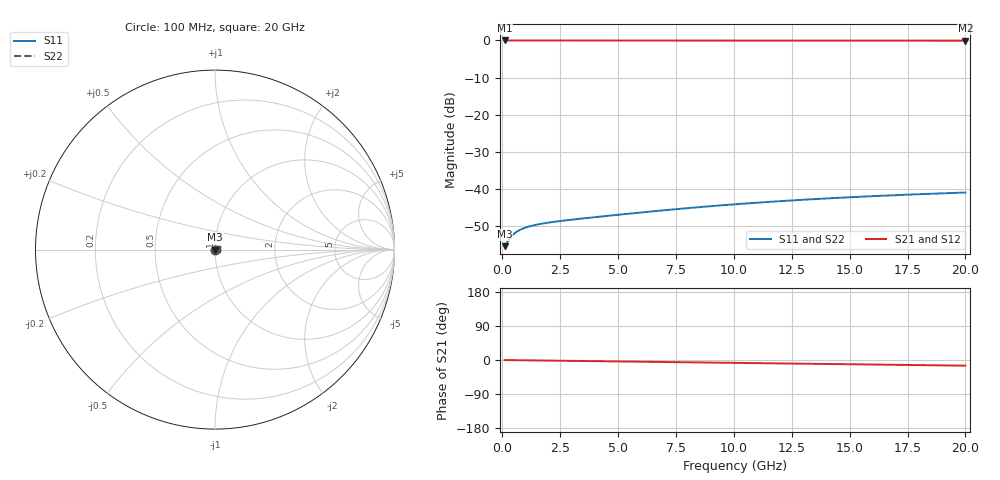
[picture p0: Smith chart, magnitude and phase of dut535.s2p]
! Touchstone file exported from HFSS 2026.1.0
!  File:  C:/ffzhzh/LocalFiles/Ansys_Project_Files/temp_train_TMRDL_535_1783007356_4048.aedt
!  Generated:  11:50:35 PM Jul  2, 2026
!  Design:  TMRDL
!  Project:  temp_train_TMRDL_535_1783007356_4048
! Variables:
!  h_bsmrdl = 2um
!  h_ox = 20um
!  h_rdl = 5um
!  h_sub = 80um
!  h_tmrdl = 2.37um
!  h_tsv = 80um
!  h_via = 3um
!  l_bsmrdl = 300um
!  l_sub = 650.79um
!  l_tmrdl = 250.79um
!  m_sub = 200um
!  pitch = 33.52um
!  r_tsv = 6um
!  s_tmrdl = 10um
!  w_bsmrdl = 18um
!  w_sub = 500um
!  w_tmrdl = 29.88um
!  x_tsv_center1 = 265.73um
!  x_tsv_center2 = 583.73um
!  x_tsv_center3 = 864.4um
!  x_tsv_center4 = 1182.4um
!  x_tsv_center5 = 1463.07um
!  x_tsv_center6 = 1781.07um
# GHz S MA R 50.000000
! Terminal data exported
! Port[1] = TM_RDL1_1_T1
! Port[2] = TM_RDL1_1_T2
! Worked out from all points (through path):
!   200 points, 100 MHz to 20 GHz, reference 50 ohm
!   highest |S21| = -0.01 dB at 100 MHz (marker M1); lowest = -0.1 dB at 20 GHz (marker M2)
!   group delay of S21, straight-line fit = 2.07 ps
!   lowest |S11| = -55.3 dB at 100 MHz (marker M3), VSWR 1.00, Z = 50.2 + j0.0317 ohm
!   |S11| at or under -10 dB: start of sweep to end of sweep
!   |S22| runs from -55.3 to -40.9 dB; largest |S21 - S12| = 3.4e-14
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0.1  0.001716 10.6  0.9983 -0.1  0.9983 -0.1  0.001716 10.6
! Gamma 0 0 0 0
! Port Impedance 50 0 50 0
0.3  0.002135 21.0  0.998 -0.3  0.998 -0.3  0.002134 20.9
0.4  0.002339 22.3  0.9978 -0.3  0.9978 -0.3  0.002336 22.2
0.5  0.002511 22.7  0.9977 -0.4  0.9977 -0.4  0.002507 22.6
0.6  0.002654 22.6  0.9975 -0.5  0.9975 -0.5  0.00265 22.6
0.7  0.002774 22.5  0.9974 -0.6  0.9974 -0.6  0.00277 22.5
0.8  0.002876 22.3  0.9973 -0.7  0.9973 -0.7  0.002873 22.3
1  0.003045 21.9  0.9971 -0.8  0.9971 -0.8  0.003042 22.0
1.2  0.003181 21.7  0.997 -1.0  0.997 -1.0  0.003179 21.7
1.4  0.003295 21.5  0.9969 -1.1  0.9969 -1.1  0.003294 21.5
1.9  0.003521 21.4  0.9967 -1.5  0.9967 -1.5  0.003522 21.4
2.5  0.003737 21.8  0.9966 -1.9  0.9966 -1.9  0.003737 21.8
3.5  0.004054 22.8  0.9963 -2.7  0.9963 -2.7  0.004054 22.8
5.2  0.004603 24.4  0.9959 -4.0  0.9959 -4.0  0.004601 24.4
6.8  0.005151 24.8  0.9955 -5.2  0.9955 -5.2  0.005149 24.8
8.5  0.005745 24.1  0.995 -6.4  0.995 -6.4  0.005741 24.1
10.1  0.006293 22.5  0.9945 -7.6  0.9945 -7.6  0.006288 22.5
11.7  0.006817 20.4  0.994 -8.8  0.994 -8.8  0.00681 20.4
13.4  0.00734 17.8  0.9935 -10.1  0.9935 -10.1  0.00733 17.8
15  0.007799 15.1  0.993 -11.3  0.993 -11.3  0.007785 15.1
16.7  0.008249 12.1  0.9924 -12.5  0.9924 -12.5  0.008233 12.0
20  0.009029 6.0  0.9915 -14.9  0.9915 -14.9  0.009004 6.0
